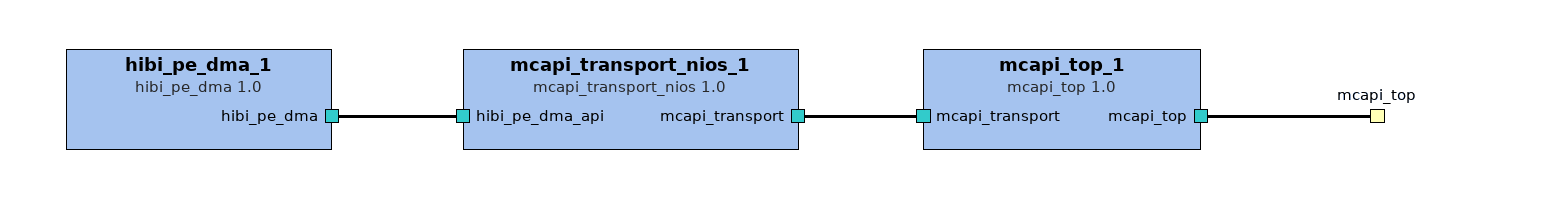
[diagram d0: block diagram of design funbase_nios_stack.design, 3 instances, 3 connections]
<?xml version="1.0" encoding="UTF-8"?>
<!-- Created by Kactus 2 document generator 13:01:29 pe loka 7 2011 -->
<spirit:design><spirit:vendor>TUT</spirit:vendor><spirit:library>ip.swp.stack</spirit:library><spirit:name>funbase_nios_stack.design</spirit:name><spirit:version>1.0</spirit:version><spirit:componentInstances>
 <spirit:componentInstance><spirit:instanceName>mcapi_top_1</spirit:instanceName><spirit:componentRef spirit:vendor="TUT" spirit:library="ip.swp.api" spirit:name="mcapi_top" spirit:version="1.0"/></spirit:componentInstance>
 <spirit:componentInstance><spirit:instanceName>mcapi_transport_nios_1</spirit:instanceName><spirit:componentRef spirit:vendor="TUT" spirit:library="ip.swp.api" spirit:name="mcapi_transport_nios" spirit:version="1.0"/></spirit:componentInstance>
 <spirit:componentInstance><spirit:instanceName>hibi_pe_dma_1</spirit:instanceName><spirit:componentRef spirit:vendor="TUT" spirit:library="ip.swp.driver" spirit:name="hibi_pe_dma" spirit:version="1.0"/></spirit:componentInstance>
</spirit:componentInstances><spirit:interconnections>
 <spirit:interconnection><spirit:name>mcapi_transport_nios_1_mcapi_transport_to_mcapi_top_1_mcapi_transport</spirit:name><spirit:activeInterface spirit:componentRef="mcapi_transport_nios_1" spirit:busRef="mcapi_transport"/><spirit:activeInterface spirit:componentRef="mcapi_top_1" spirit:busRef="mcapi_transport"/></spirit:interconnection>
 <spirit:interconnection><spirit:name>hibi_pe_dma_1_hibi_pe_dma_to_mcapi_transport_nios_1_hibi_pe_dma_api</spirit:name><spirit:activeInterface spirit:componentRef="hibi_pe_dma_1" spirit:busRef="hibi_pe_dma"/><spirit:activeInterface spirit:componentRef="mcapi_transport_nios_1" spirit:busRef="hibi_pe_dma_api"/></spirit:interconnection>
</spirit:interconnections>
 <spirit:hierConnections><spirit:hierConnection spirit:interfaceRef="mcapi_top"><spirit:interface spirit:componentRef="mcapi_top_1" spirit:busRef="mcapi_top"/></spirit:hierConnection></spirit:hierConnections>
</spirit:design>

